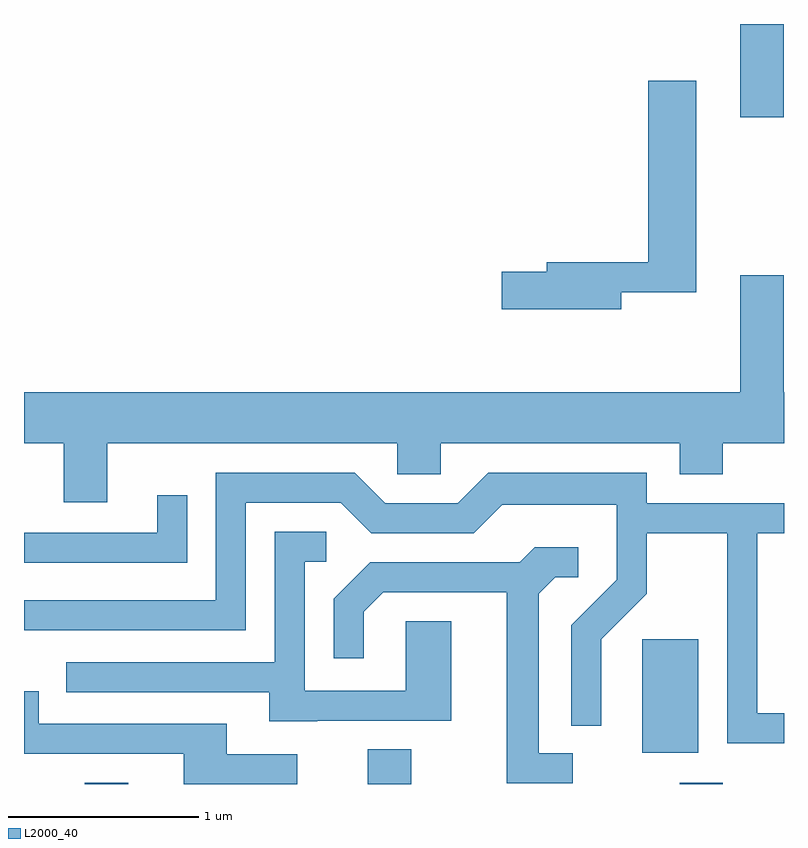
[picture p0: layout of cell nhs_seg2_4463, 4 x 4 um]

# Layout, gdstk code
import gdstk
lib = gdstk.Library(unit=1e-6, precision=1e-09)
def R(c, l, rs):  # rectangles x0, y0, x1, y1
    for r in rs: c.add(gdstk.rectangle(r[:2], r[2:], *l))
def P(c, l, *ps):  # polygons
    for p in ps: c.add(gdstk.Polygon(p, *l))
L2000_40 = (2000, 40)

nhs_seg2_4463 = lib.new_cell('nhs_seg2_4463')
R(nhs_seg2_4463, L2000_40, [(315.931,1099.802,316.159,1099.809), (317.421,1099.802,317.649,1099.984), (319.061,1099.802,319.289,1099.809), (318.866,1099.966,319.159,1100.564), (319.381,1103.311,319.609,1103.802)])
P(nhs_seg2_4463, L2000_40, [(318.754,1102.391),(319.149,1102.391),(319.149,1103.504),(318.896,1103.504),(318.896,1102.549),(318.361,1102.549),(318.361,1102.499),(318.126,1102.499),(318.126,1102.301),(318.754,1102.301)],
  [(316.049,1101.596),(317.576,1101.596),(317.576,1101.431),(317.804,1101.431),(317.804,1101.596),(319.061,1101.596),(319.061,1101.431),(319.289,1101.431),(319.289,1101.596),(319.611,1101.596),(319.611,1101.864),(319.609,1101.864),(319.609,1102.479),(319.381,1102.479),(319.381,1101.864),(315.611,1101.864),(315.611,1101.596),(315.821,1101.596),(315.821,1101.286),(316.049,1101.286)],
  [(319.611,1100.174),(319.469,1100.174),(319.469,1101.121),(319.611,1101.121),(319.611,1101.279),(318.889,1101.279),(318.889,1101.439),(318.054,1101.439),(317.894,1101.279),(317.512,1101.279),(317.352,1101.439),(316.621,1101.439),(316.621,1100.769),(315.611,1100.769),(315.611,1100.611),(316.779,1100.611),(316.779,1101.281),(317.279,1101.281),(317.439,1101.121),(317.977,1101.121),(318.127,1101.271),(318.731,1101.271),(318.731,1100.877),(318.491,1100.637),(318.491,1100.108),(318.649,1100.108),(318.649,1100.564),(318.889,1100.804),(318.889,1101.121),(319.311,1101.121),(319.311,1100.016),(319.611,1100.016)],
  [(316.469,1101.323),(316.311,1101.323),(316.311,1101.124),(315.611,1101.124),(315.611,1100.966),(316.469,1100.966)],
  [(317.155,1100.136),(317.859,1100.136),(317.859,1100.659),(317.621,1100.659),(317.621,1100.294),(317.089,1100.294),(317.089,1100.971),(317.203,1100.971),(317.203,1101.129),(316.931,1101.129),(316.931,1100.444),(315.833,1100.444),(315.833,1100.286),(316.901,1100.286),(316.901,1100.131),(317.155,1100.131)],
  [(318.498,1099.964),(318.319,1099.964),(318.319,1100.804),(318.407,1100.891),(318.528,1100.891),(318.528,1101.049),(318.299,1101.049),(318.219,1100.969),(317.434,1100.969),(317.241,1100.777),(317.241,1100.463),(317.399,1100.463),(317.399,1100.709),(317.502,1100.811),(318.151,1100.811),(318.151,1099.806),(318.498,1099.806)],
  [(317.048,1099.959),(316.679,1099.959),(316.679,1100.119),(315.689,1100.119),(315.689,1100.289),(315.611,1100.289),(315.611,1099.961),(316.451,1099.961),(316.451,1099.802),(317.048,1099.802)])

lib.write_gds('nhs_seg2_4463.gds')
